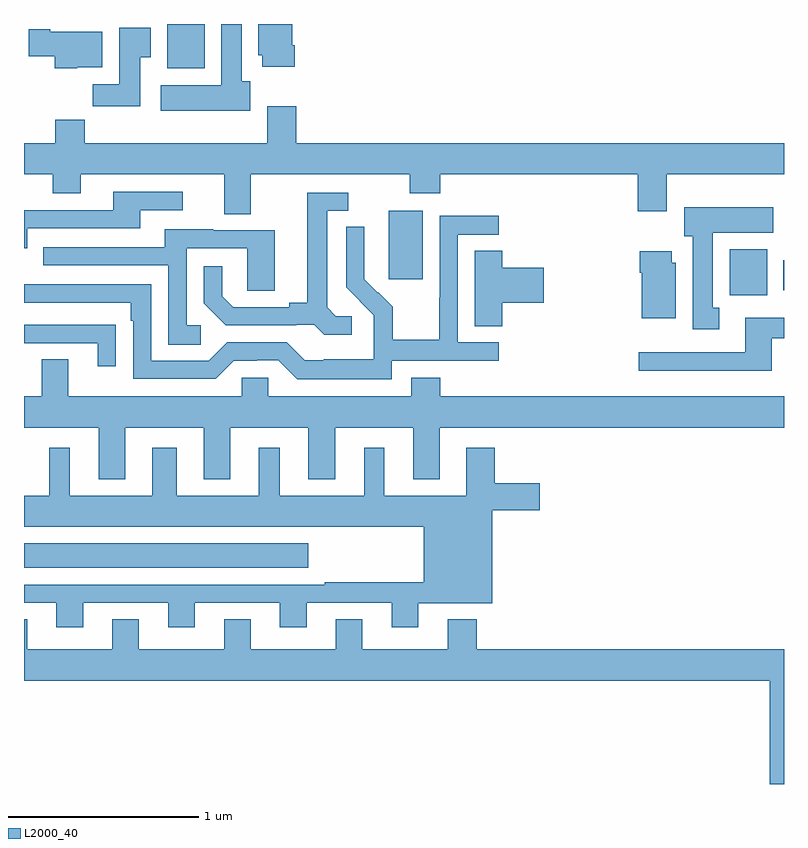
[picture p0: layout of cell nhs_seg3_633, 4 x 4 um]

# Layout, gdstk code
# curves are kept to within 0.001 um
import gdstk
lib = gdstk.Library(unit=1e-6, precision=1e-09)
def R(c, l, rs):  # rectangles x0, y0, x1, y1
    for r in rs: c.add(gdstk.rectangle(r[:2], r[2:], *l))
def P(c, l, *ps):  # polygons
    for p in ps: c.add(gdstk.Polygon(p, *l))
L2000_40 = (2000, 40)

nhs_seg3_633 = lib.new_cell('nhs_seg3_633')
R(nhs_seg3_633, L2000_40, [(143,673.538,144.496,673.666), (146.714,674.972,146.911,675.214), (146.996,675,147,675.156), (144.92,675.057,145.099,675.418), (143.753,676.166,143.95,676.4)])
P(nhs_seg3_633, L2000_40, [(144.19,676.098),(144.145,676.098),(144.145,676.4),(144.038,676.4),(144.038,676.078),(143.721,676.078),(143.721,675.944),(144.19,675.944)],
  [(144.425,676.288),(144.412,676.288),(144.412,676.4),(144.233,676.4),(144.233,676.236),(144.254,676.236),(144.254,676.176),(144.425,676.176)],
  [(143.611,676.225),(143.668,676.225),(143.668,676.381),(143.501,676.381),(143.501,676.084),(143.362,676.084),(143.362,675.966),(143.611,675.966)],
  [(143.28,676.172),(143.413,676.172),(143.413,676.36),(143.137,676.36),(143.137,676.373),(143.025,676.373),(143.025,676.231),(143.162,676.231),(143.162,676.166),(143.28,676.166)],
  [(144.193,675.608),(145.03,675.608),(145.03,675.509),(145.19,675.509),(145.19,675.608),(146.231,675.608),(146.231,675.414),(146.383,675.414),(146.383,675.608),(147,675.608),(147,675.772),(144.434,675.772),(144.434,675.967),(144.281,675.967),(144.281,675.772),(143.321,675.772),(143.321,675.896),(143.165,675.896),(143.165,675.772),(143,675.772),(143,675.608),(143.152,675.608),(143.152,675.509),(143.299,675.509),(143.299,675.608),(144.053,675.608),(144.053,675.4),(144.193,675.4)],
  [(143.016,675.324),(143.611,675.324),(143.611,675.42),(143.836,675.42),(143.836,675.516),(143.471,675.516),(143.471,675.42),(143,675.42),(143,675.221),(143.016,675.221)],
  [(144.724,674.862),(144.642,674.862),(144.595,674.909),(144.595,675.417),(144.706,675.417),(144.706,675.513),(144.491,675.513),(144.491,674.933),(144.395,674.933),(144.395,674.91),(144.1,674.91),(144.043,674.967),(144.043,675.124),(143.946,675.124),(143.946,674.93),(144.062,674.814),(144.434,674.814),(144.434,674.817),(144.528,674.817),(144.58,674.765),(144.724,674.765)],
  [(146.659,674.906),(146.626,674.906),(146.626,675.302),(146.944,675.302),(146.944,675.436),(146.474,675.436),(146.474,675.282),(146.519,675.282),(146.519,674.793),(146.659,674.793)],
  [(144.936,674.628),(145.498,674.628),(145.498,674.724),(145.284,674.724),(145.284,675.291),(145.498,675.291),(145.498,675.39),(145.188,675.39),(145.188,674.96),(145.186,674.96),(145.186,674.737),(144.941,674.737),(144.941,674.911),(144.864,674.988),(144.861,674.985),(144.791,675.056),(144.792,675.332),(144.696,675.332),(144.696,675.014),(144.842,674.866),(144.842,674.769),(144.84,674.769),(144.84,674.635),(144.577,674.635),(144.577,674.631),(144.477,674.631),(144.384,674.724),(144.069,674.724),(143.973,674.628),(143.67,674.628),(143.67,675.03),(143,675.03),(143,674.934),(143.561,674.934),(143.561,674.837),(143.574,674.837),(143.574,674.532),(144.009,674.532),(144.105,674.628),(144.224,674.628),(144.224,674.631),(144.339,674.631),(144.439,674.531),(144.936,674.531)],
  [(143.929,674.814),(143.856,674.814),(143.856,675.219),(144.174,675.219),(144.174,674.995),(144.319,674.995),(144.319,675.315),(143.995,675.315),(143.995,675.319),(143.741,675.319),(143.741,675.225),(143.101,675.225),(143.101,675.129),(143.76,675.129),(143.76,674.713),(143.929,674.713)],
  [(145.517,674.933),(145.735,674.933),(145.735,675.116),(145.517,675.116),(145.517,675.206),(145.373,675.206),(145.373,674.809),(145.517,674.809)],
  [(146.431,675.144),(146.41,675.144),(146.41,675.205),(146.24,675.205),(146.24,675.092),(146.252,675.092),(146.252,674.852),(146.431,674.852)],
  [(146.935,674.745),(147,674.745),(147,674.854),(146.795,674.854),(146.795,674.673),(146.235,674.673),(146.235,674.576),(146.935,674.576)],
  [(143.483,674.816),(143.381,674.816),(143.381,674.817),(143,674.817),(143,674.721),(143.387,674.721),(143.387,674.598),(143.483,674.598)],
  [(143.533,674.276),(143.945,674.276),(143.945,674.003),(144.085,674.003),(144.085,674.276),(144.497,674.276),(144.497,674.003),(144.637,674.003),(144.637,674.276),(145.049,674.276),(145.049,674.003),(145.189,674.003),(145.189,674.276),(147,674.276),(147,674.44),(145.19,674.44),(145.19,674.539),(145.037,674.539),(145.037,674.44),(144.285,674.44),(144.285,674.538),(144.147,674.538),(144.147,674.44),(143.233,674.44),(143.233,674.635),(143.093,674.635),(143.093,674.44),(143,674.44),(143,674.276),(143.393,674.276),(143.393,674.003),(143.533,674.003)],
  [(143.311,673.353),(143.759,673.353),(143.759,673.224),(143.899,673.224),(143.899,673.353),(144.347,673.353),(144.347,673.224),(144.487,673.224),(144.487,673.353),(144.935,673.353),(144.935,673.224),(145.075,673.224),(145.075,673.352),(145.465,673.352),(145.465,673.841),(145.714,673.841),(145.714,673.983),(145.478,673.983),(145.478,674.17),(145.328,674.17),(145.328,673.918),(144.895,673.918),(144.895,674.17),(144.791,674.17),(144.791,673.918),(144.346,673.918),(144.346,674.17),(144.236,674.17),(144.236,673.918),(143.803,673.918),(143.803,674.17),(143.675,674.17),(143.675,673.918),(143.242,673.918),(143.242,674.17),(143.132,674.17),(143.132,673.918),(143,673.918),(143,673.754),(145.103,673.754),(145.103,673.462),(144.583,673.462),(144.583,673.449),(143,673.449),(143,673.353),(143.171,673.353),(143.171,673.224),(143.311,673.224)],
  [(147,673.108),(145.382,673.108),(145.382,673.267),(145.229,673.267),(145.229,673.108),(144.781,673.108),(144.781,673.268),(144.641,673.268),(144.641,673.108),(144.193,673.108),(144.193,673.268),(144.053,673.268),(144.053,673.108),(143.605,673.108),(143.605,673.268),(143.465,673.268),(143.465,673.108),(143.017,673.108),(143.017,673.268),(143,673.268),(143,672.944),(146.924,672.944),(146.924,672.4),(147,672.4)])

lib.write_gds('nhs_seg3_633.gds')
